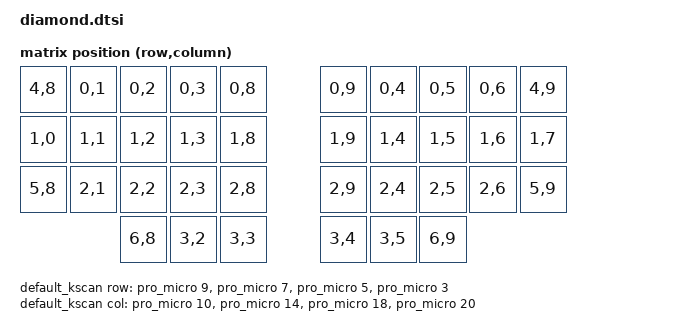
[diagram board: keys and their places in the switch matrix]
/*
 * Copyright (c) 2021 The ZMK Contributors
 *
 * SPDX-License-Identifier: MIT
 */

#include <dt-bindings/zmk/matrix_transform.h>

/ {
    chosen {
        zmk,kscan = &default_kscan;
        zmk,matrix_transform = &default_transform;
    };

    default_transform: keymap_transform_0 {
        compatible = "zmk,matrix-transform";
        columns = <10>;
        rows = <4>;
        map = <
        RC(4,8) RC(0,1) RC(0,2) RC(0,3) RC(0,8)   RC(0,9) RC(0,4) RC(0,5) RC(0,6) RC(4,9)
        RC(1,0) RC(1,1) RC(1,2) RC(1,3) RC(1,8)   RC(1,9) RC(1,4) RC(1,5) RC(1,6) RC(1,7) 
        RC(5,8) RC(2,1) RC(2,2) RC(2,3) RC(2,8)   RC(2,9) RC(2,4) RC(2,5) RC(2,6) RC(5,9)
                        RC(6,8) RC(3,2) RC(3,3)   RC(3,4) RC(3,5) RC(6,9)             
        >;
    };

    default_kscan: kscan_0 {
        compatible = "zmk,kscan-gpio-matrix";
        diode-direction = "col2row";
        wakeup-source;
        row-gpios
            = <&pro_micro 9 (GPIO_ACTIVE_HIGH | GPIO_PULL_DOWN)>
            , <&pro_micro 7 (GPIO_ACTIVE_HIGH | GPIO_PULL_DOWN)>
            , <&pro_micro 5 (GPIO_ACTIVE_HIGH | GPIO_PULL_DOWN)>
            , <&pro_micro 3 (GPIO_ACTIVE_HIGH | GPIO_PULL_DOWN)>
            ;

        col-gpios
            = <&pro_micro 10 GPIO_ACTIVE_HIGH>
            , <&pro_micro 14 GPIO_ACTIVE_HIGH>
            , <&pro_micro 18 GPIO_ACTIVE_HIGH>
            , <&pro_micro 20 GPIO_ACTIVE_HIGH>
            ;
    };
};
